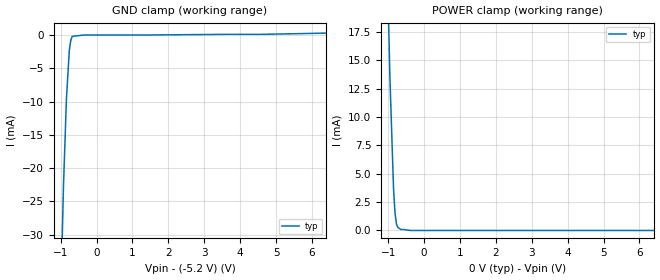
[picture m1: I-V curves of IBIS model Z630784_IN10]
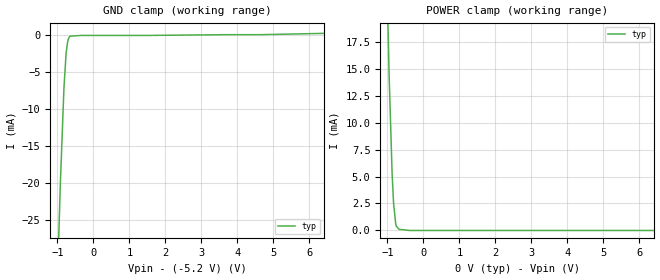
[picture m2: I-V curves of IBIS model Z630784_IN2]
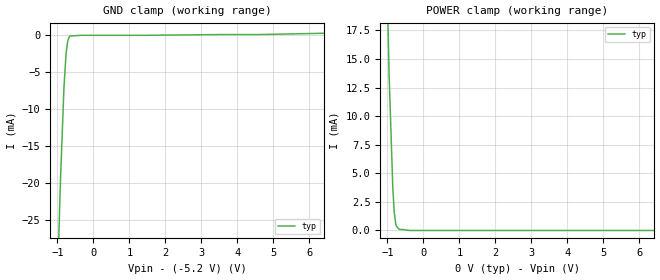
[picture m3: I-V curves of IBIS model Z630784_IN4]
| YOU ARE ONLY AUTHORIZED TO USE THIS SOFTWARE
| ACCORDING TO LICENSOR'S LICENSE RESTRICTIONS.
[IBIS Ver] 3.1
[File Name] mc100ep139dt_-52.ibs
[File Rev] 2.0
[Source] Measured and created by ICX Technology
[Date] Monday 10/30/00 3:36:28 PM
[Copyright]
| (C) COPYRIGHT 1993-2000
| MENTOR GRAPHICS CORPORATION
| ICX STANDARD LIBRARY, ICX PROJECT MODELING,
| ICX CUSTOM MODELING, ICX VENDOR MODEL
| ALL RIGHTS RESERVED.
| THE FOLLOWING ARE TRADEMARKS OR SERVICE MARKS OF
| MENTOR GRAPHICS CORPORATION:ICX (R), ICX STANDARD
| LIBRARY(R), ICX PROJECT MODELING(R), ICX CUSTOM
| MODELING(R), qualityIBIS(TM), MODELVIEWER(TM),
| AND MODELEDITOR(TM)
| ALL COPIES OF SOFTWARE, INCLUDING BUT NOT LIMITED TO
| ANY MODIFICATIONS, ENHANCEMENTS OR DERIVATIVE WORKS,
| MUST CONTAIN ALL MENTOR GRAPHICS CORPORATION'S
| NOTICES AND LEGENDS, INCLUDING THOSE EMBEDDED IN
| SOFTWARE AND THOSE AFFIXED TO SOFTWARE MEDIUM
| AND CONTAINER, AS RECEIVED FROM MENTOR GRAPHICS
| CORPORATION.
|  ZAP Model Builder 2.8
[Component] MC100EP139DT_-52
[Manufacturer] ON
[Package]
| variable   typ   min   max
R_pkg  .18ohms NA NA
L_pkg  4.22nH NA NA
C_pkg  .41pF NA NA
[Pin] signal_name  model_name  R_pin  L_pin C_pin
1 VCC POWER .194 5.16n .43p
2 _EN Z630784_IN2 .185 4.57n .42p
3 DIV_SELB0 Z630784_IN10 .177 3.98n .42p
4 CLK Z630784_IN4 .174 3.79n .41p
5 _CLK Z630784_IN4 .171 3.6n .37p
6 VBB POWER .171 3.6n .37p
7 MR Z630784_IN7 .174 3.79n .41p
8 VCC POWER .177 3.98n .42p
9 DIV_SELB1 Z630784_IN10 .185 4.57n .42p
10 DIV_SELA Z630784_IN10 .194 5.16n .43p
11 VEE POWER .194 5.16n .43p
12 _Q3 Z630784_OUT13 .185 4.57n .42p
13 Q3 Z630784_OUT13 .177 3.98n .42p
14 _Q2 Z630784_OUT13 .174 3.79n .41p
15 Q2 Z630784_OUT13 .171 3.6n .37p
16 _Q1 Z630784_OUT17 .171 3.6n .37p
17 Q1 Z630784_OUT17 .174 3.79n .41p
18 _Q0 Z630784_OUT17 .177 3.98n .42p
19 Q0 Z630784_OUT17 .185 4.57n .42p
20 VCC POWER .194 5.16n .43p
[Diff Pin] inv_pin vdiff tdelay_typ tdelay_min tdelay_max
4 5 800mv NA NA NA
13 12 NA .05ns NA NA
15 14 NA .05ns NA NA
17 16 NA .05ns NA NA
19 18 NA .05ns NA NA
| Models and submodels in the file (6): Z630784_IN10 (Input_ECL), Z630784_IN2 (Input_ECL), Z630784_IN4 (Input_ECL), Z630784_IN7 (Input_ECL), Z630784_OUT13 (Output_ECL), Z630784_OUT17 (Output_ECL)
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| (C) COPYRIGHT 1993-2000
| MENTOR GRAPHICS CORPORATION
| ICX STANDARD LIBRARY, ICX PROJECT MODELING,
| ICX CUSTOM MODELING, ICX VENDOR MODEL
| ALL RIGHTS RESERVED.
| THE FOLLOWING ARE TRADEMARKS OR SERVICE MARKS OF
| MENTOR GRAPHICS CORPORATION:ICX (R), ICX STANDARD
| LIBRARY(R), ICX PROJECT MODELING(R), ICX CUSTOM
| MODELING(R), qualityIBIS(TM), MODELVIEWER(TM),
| AND MODELEDITOR(TM)
| ALL COPIES OF SOFTWARE, INCLUDING BUT NOT LIMITED TO
| ANY MODIFICATIONS, ENHANCEMENTS OR DERIVATIVE WORKS,
| MUST CONTAIN ALL MENTOR GRAPHICS CORPORATION'S
| NOTICES AND LEGENDS, INCLUDING THOSE EMBEDDED IN
| SOFTWARE AND THOSE AFFIXED TO SOFTWARE MEDIUM
| AND CONTAINER, AS RECEIVED FROM MENTOR GRAPHICS
| CORPORATION.
| Model Application Version 1.89 2/18/99.
[Model] Z630784_IN10
Model_type Input_ECL
Vinl = -1.642V
Vinh = -1.022V
C_comp 3.000pF NA NA
| variable typ   min   max
[Voltage Range] -5.200V NA NA
[GND Clamp Reference] -5.200V NA NA
[POWER Clamp Reference] 0.000V NA NA
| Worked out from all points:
|   GND clamp passes 1 mA (typ) near -0.72 V on its own axis
|   POWER clamp passes 1 mA (typ) near -0.79 V on its own axis
[GND Clamp]
-5.2V     -968mA     NA         NA
-922mV    -22.6mA    NA         NA
-841mV    -9.7mA     NA         NA
-760mV    -2.3mA     NA         NA
-719mV    -800uA     NA         NA
-679mV    -200uA     NA         NA
-339.5mV  0A         NA         NA
1.511V    0A         NA         NA
3.639V    100uA      NA         NA
4.622V    100uA      NA         NA
10.4V     687.8uA    NA         NA
[POWER Clamp]
-5.2V     733.9mA    NA         NA
-1.034V   24.54mA    NA         NA
-953mV    13.54mA    NA         NA
-851mV    3.655mA    NA         NA
-811mV    1.559mA    NA         NA
-770mV    562.9uA    NA         NA
-730mV    266.9uA    NA         NA
-648.5mV  83.52uA    NA         NA
-567mV    83.52uA    NA         NA
-378mV    0A         NA         NA
10.4V     0A         NA         NA
| (C) COPYRIGHT 1993-2000
| MENTOR GRAPHICS CORPORATION
| ICX STANDARD LIBRARY, ICX PROJECT MODELING,
| ICX CUSTOM MODELING, ICX VENDOR MODEL
| ALL RIGHTS RESERVED.
| THE FOLLOWING ARE TRADEMARKS OR SERVICE MARKS OF
| MENTOR GRAPHICS CORPORATION:ICX (R), ICX STANDARD
| LIBRARY(R), ICX PROJECT MODELING(R), ICX CUSTOM
| MODELING(R), qualityIBIS(TM), MODELVIEWER(TM),
| AND MODELEDITOR(TM)
| ALL COPIES OF SOFTWARE, INCLUDING BUT NOT LIMITED TO
| ANY MODIFICATIONS, ENHANCEMENTS OR DERIVATIVE WORKS,
| MUST CONTAIN ALL MENTOR GRAPHICS CORPORATION'S
| NOTICES AND LEGENDS, INCLUDING THOSE EMBEDDED IN
| SOFTWARE AND THOSE AFFIXED TO SOFTWARE MEDIUM
| AND CONTAINER, AS RECEIVED FROM MENTOR GRAPHICS
| CORPORATION.
| Model Application Version 1.89 2/18/99.
[Model] Z630784_IN2
Model_type Input_ECL
Vinl = -1.642V
Vinh = -1.022V
C_comp 3.000pF NA NA
| variable typ   min   max
[Voltage Range] -5.200V NA NA
[GND Clamp Reference] -5.200V NA NA
[POWER Clamp Reference] 0.000V NA NA
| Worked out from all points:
|   GND clamp passes 1 mA (typ) near -0.72 V on its own axis
|   POWER clamp passes 1 mA (typ) near -0.78 V on its own axis
[GND Clamp]
-5.2V     -717.5mA   NA         NA
-922mV    -20.3mA    NA         NA
-820mV    -7.1mA     NA         NA
-760mV    -2.4mA     NA         NA
-719mV    -900uA     NA         NA
-699mV    -500uA     NA         NA
-658mV    -100uA     NA         NA
-329mV    0A         NA         NA
1.511V    0A         NA         NA
3.639V    100uA      NA         NA
4.632V    100uA      NA         NA
10.4V     680.9uA    NA         NA
[POWER Clamp]
-5.2V     784mA      NA         NA
-1.034V   25.84mA    NA         NA
-953mV    14.25mA    NA         NA
-872mV    5.355mA    NA         NA
-831mV    2.559mA    NA         NA
-770mV    565.3uA    NA         NA
-750mV    367.3uA    NA         NA
-669mV    83.59uA    NA         NA
-588mV    83.59uA    NA         NA
-392mV    0A         NA         NA
10.4V     0A         NA         NA
| (C) COPYRIGHT 1993-2000
| MENTOR GRAPHICS CORPORATION
| ICX STANDARD LIBRARY, ICX PROJECT MODELING,
| ICX CUSTOM MODELING, ICX VENDOR MODEL
| ALL RIGHTS RESERVED.
| THE FOLLOWING ARE TRADEMARKS OR SERVICE MARKS OF
| MENTOR GRAPHICS CORPORATION:ICX (R), ICX STANDARD
| LIBRARY(R), ICX PROJECT MODELING(R), ICX CUSTOM
| MODELING(R), qualityIBIS(TM), MODELVIEWER(TM),
| AND MODELEDITOR(TM)
| ALL COPIES OF SOFTWARE, INCLUDING BUT NOT LIMITED TO
| ANY MODIFICATIONS, ENHANCEMENTS OR DERIVATIVE WORKS,
| MUST CONTAIN ALL MENTOR GRAPHICS CORPORATION'S
| NOTICES AND LEGENDS, INCLUDING THOSE EMBEDDED IN
| SOFTWARE AND THOSE AFFIXED TO SOFTWARE MEDIUM
| AND CONTAINER, AS RECEIVED FROM MENTOR GRAPHICS
| CORPORATION.
| Model Application Version 1.89 2/18/99.
[Model] Z630784_IN4
Model_type Input_ECL
Vinl = -1.642V
Vinh = -1.022V
C_comp 3.000pF NA NA
| variable typ   min   max
[Voltage Range] -5.200V NA NA
[GND Clamp Reference] -5.200V NA NA
[POWER Clamp Reference] 0.000V NA NA
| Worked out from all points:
|   GND clamp passes 1 mA (typ) near -0.72 V on its own axis
|   POWER clamp passes 1 mA (typ) near -0.79 V on its own axis
[GND Clamp]
-5.2V     -754.4mA   NA         NA
-922mV    -20.3mA    NA         NA
-820mV    -7.1mA     NA         NA
-760mV    -2.4mA     NA         NA
-719mV    -900uA     NA         NA
-699mV    -500uA     NA         NA
-658mV    -100uA     NA         NA
-329mV    0A         NA         NA
1.47V     0A         NA         NA
3.558V    100uA      NA         NA
4.592V    100uA      NA         NA
10.4V     662uA      NA         NA
[POWER Clamp]
-5.2V     725.1mA    NA         NA
-1.054V   27.64mA    NA         NA
-953mV    13.45mA    NA         NA
-851mV    3.659mA    NA         NA
-811mV    1.563mA    NA         NA
-770mV    566.6uA    NA         NA
-750mV    368.6uA    NA         NA
-669mV    84.23uA    NA         NA
-588mV    84.23uA    NA         NA
-392mV    0A         NA         NA
10.4V     0A         NA         NA
